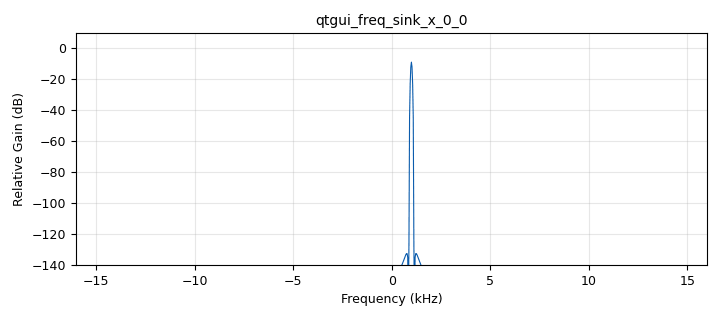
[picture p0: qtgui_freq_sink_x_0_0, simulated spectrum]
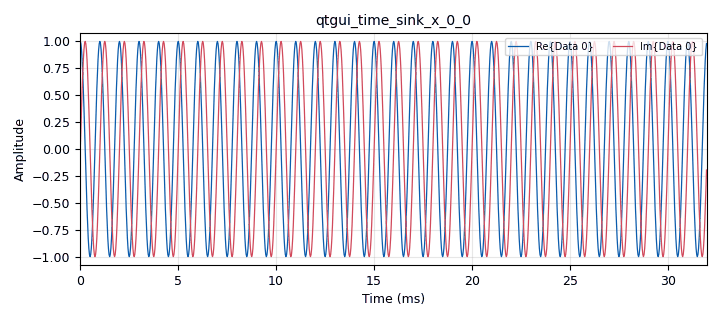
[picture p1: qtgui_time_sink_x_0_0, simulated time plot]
options:
  parameters:
    author: Junio
    generate_options: qt_gui
    id: seno
    output_language: python
    title: Not titled yet
  states: {}

blocks:
- name: amp_tx
  id: variable_qtgui_range
  parameters:
    start: '0'
    step: '1'
    stop: '30'
    value: '10'
  states: {}
- name: samp_rate
  id: variable
  parameters:
    value: '32000'
  states: {}
- name: analog_sig_source_x_0
  id: analog_sig_source_x
  parameters:
    amp: '1'
    freq: '1000'
    offset: '0'
    phase: '0'
    samp_rate: samp_rate
    type: complex
    waveform: analog.GR_SIN_WAVE
  states: {}
- name: qtgui_freq_sink_x_0
  id: qtgui_freq_sink_x
  parameters:
    bw: samp_rate
    fc: '0'
    fftsize: '1024'
    type: complex
  states: {state: disabled}
- name: qtgui_freq_sink_x_0_0
  id: qtgui_freq_sink_x
  parameters:
    bw: samp_rate
    fc: '0'
    fftsize: '1024'
    type: complex
  states: {}
- name: qtgui_tab_widget_0
  id: qtgui_tab_widget
  parameters:
    label0: TX
    label1: RX
    num_tabs: '2'
  states: {}
- name: qtgui_time_sink_x_0
  id: qtgui_time_sink_x
  parameters:
    size: '1024'
    srate: samp_rate
    type: complex
  states: {state: disabled}
- name: qtgui_time_sink_x_0_0
  id: qtgui_time_sink_x
  parameters:
    size: '1024'
    srate: samp_rate
    type: complex
  states: {}
- name: uhd_usrp_sink_0
  id: uhd_usrp_sink
  parameters:
    ant0: '"TX/RX"'
    bw0: '1500'
    center_freq0: 915e6
    clock_rate: 200e6
    dev_addr: '"addr=192.168.1.35"'
    gain0: amp_tx
    samp_rate: samp_rate
    sync: none
    type: fc32
  states: {}
- name: uhd_usrp_source_0
  id: uhd_usrp_source
  parameters:
    ant0: '"TX/RX"'
    bw0: '1500'
    center_freq0: 915e6
    dev_addr: '"addr=192.168.1.36"'
    gain0: '0'
    samp_rate: samp_rate
    stream_chans: '[1]'
    sync: sync
    type: fc32
  states: {state: disabled}
- name: virtual_sink_0
  id: virtual_sink
  parameters:
    stream_id: Sinal
  states: {}
- name: virtual_source_0
  id: virtual_source
  parameters:
    stream_id: Sinal
  states: {}

connections:
- [analog_sig_source_x_0, '0', uhd_usrp_sink_0, '0']
- [analog_sig_source_x_0, '0', virtual_sink_0, '0']
- [uhd_usrp_source_0, '0', qtgui_freq_sink_x_0, '0']
- [uhd_usrp_source_0, '0', qtgui_time_sink_x_0, '0']
- [virtual_source_0, '0', qtgui_freq_sink_x_0_0, '0']
- [virtual_source_0, '0', qtgui_time_sink_x_0_0, '0']

metadata:
  file_format: 1
  grc_version: 3.10.11.0
